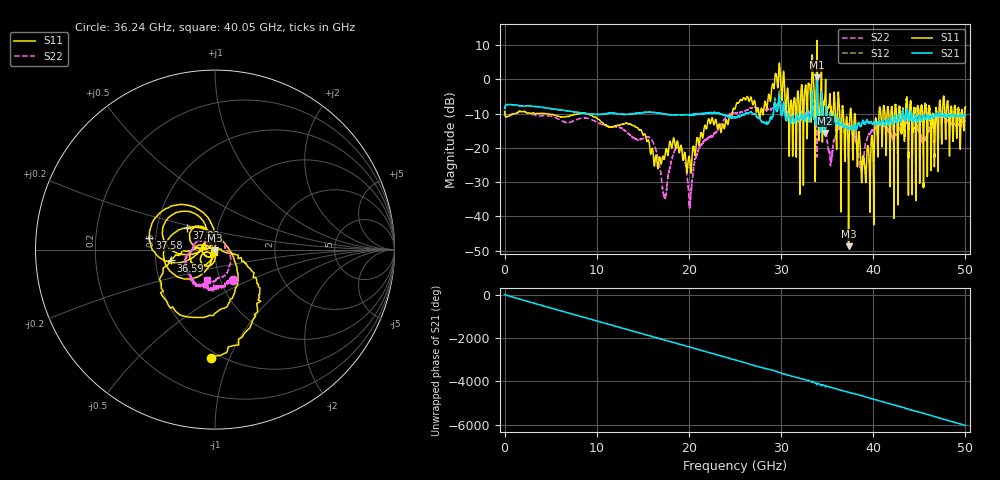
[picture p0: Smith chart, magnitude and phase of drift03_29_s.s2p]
!Created with skrf (http://scikit-rf.org).
# Hz S RI R 50.0
!freq ReS11 ImS11 ReS21 ImS21 ReS12 ImS12 ReS22 ImS22
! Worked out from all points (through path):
!   10001 points, 300 kHz to 50 GHz, reference 50 ohm
!   highest |S21| = 0.63 dB at 33.9 GHz (marker M1); lowest = -15.6 dB at 34.79 GHz (marker M2)
!   group delay of S21, straight-line fit = 335 ps
!   lowest |S11| = -48.7 dB at 37.32 GHz (marker M3), VSWR 1.01, Z = 49.8 - j0.309 ohm
!   |S11| at or under -10 dB: 4.473 GHz to 7.923 GHz (3.45 GHz wide, 55.7 % of centre); 9.018 GHz to 24.7 GHz (15.68 GHz wide, 93 % of centre); 38.01 GHz to 40.62 GHz (2.615 GHz wide, 6.65 % of centre) (the widest 3 of 66)
!   |S22| runs from -37.6 to -5.9 dB; largest |S21 - S12| = 0.11
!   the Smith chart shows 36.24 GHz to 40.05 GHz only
!   S11 on the Smith chart (normalised r, x): 36.24 GHz: 0.45, -0.86; 36.59 GHz: 0.60, -0.08; 37.03 GHz: 0.71, +0.18; 37.58 GHz: 0.46, +0.07; 40.05 GHz: 0.99, -0.02
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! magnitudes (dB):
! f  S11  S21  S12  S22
! 300 kHz  -9.4  -8.4  -8.5  -9.3
! 8.335 GHz  -9.9  -9.8  -9.8  -11.3
! 16.67 GHz  -25.5  -9.8  -9.8  -23.3
! 17.37 GHz  -22.9  -10.1  -10.1  -34.5
! 19.05 GHz  -20.1  -10.3  -10.3  -19.9
! 20.12 GHz  -24.2  -10.3  -10.3  -35.7
! 21.19 GHz  -17.9  -10.1  -10.1  -19.5
! 25 GHz  -8.6  -11.1  -11.1  -9.8
! 29.66 GHz  -2.3  -8.3  -8.4  -7.1
! 31.08 GHz  -6.1  -12.7  -12.7  -10.5
! 33.34 GHz  0.5  -7.5  -7.6  -9.4
! 33.9 GHz  11.4  0.6  0.2  -22.7
! 34.79 GHz  -3.6  -15.6  -14.0  -14.3
! 36.24 GHz  -4.4  -11.7  -11.6  -14.2
! 36.59 GHz  -11.9  -13.1  -13.1  -13.4
! 37.03 GHz  -14.0  -13.8  -14.0  -14.0
! 37.32 GHz  -48.7  -14.3  -14.5  -13.6
! 37.58 GHz  -8.6  -13.9  -13.8  -14.3
! 38.7 GHz  -27.2  -13.5  -13.4  -25.4
! 40.05 GHz  -37.5  -12.8  -12.8  -15.2
! 41.67 GHz  -9.6  -13.3  -13.2  -14.6
! 50 GHz  -8.2  -10.5  -10.6  -12.1
